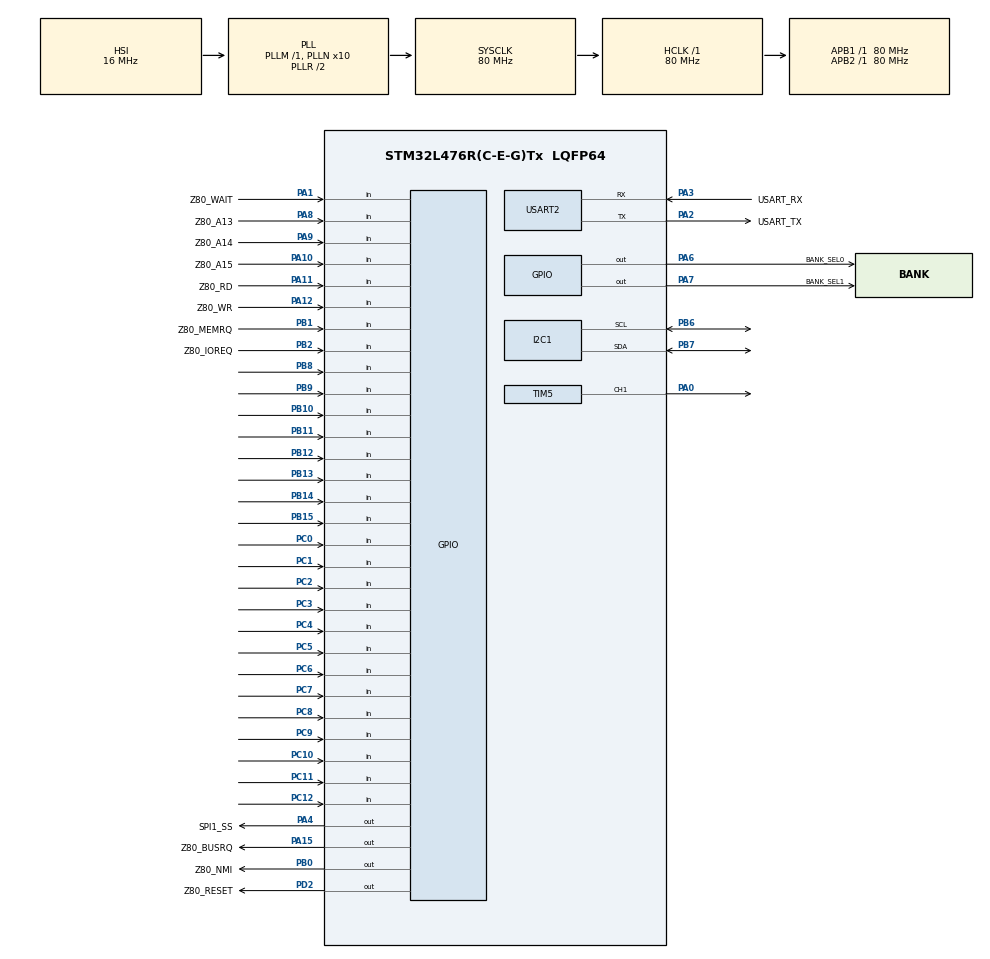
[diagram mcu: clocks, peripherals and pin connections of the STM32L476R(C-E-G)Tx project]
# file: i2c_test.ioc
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I2C1.Timing=0x10909CEC
Mcu.Family=STM32L4
Mcu.Name=STM32L476R(C-E-G)Tx
Mcu.Package=LQFP64
NVIC.PriorityGroup=NVIC_PRIORITYGROUP_4
PA0.Signal=S_TIM5_CH1
PA1.GPIO_Label=Z80_WAIT
PA1.GPIO_PuPd=GPIO_PULLUP
PA1.Signal=GPIO_Input
PA10.GPIO_Label=Z80_A15
PA10.GPIO_PuPd=GPIO_NOPULL
PA10.Signal=GPIO_Input
PA11.GPIO_Label=Z80_RD
PA11.GPIO_PuPd=GPIO_PULLUP
PA11.Signal=GPIO_Input
PA12.GPIO_Label=Z80_WR
PA12.GPIO_PuPd=GPIO_PULLUP
PA12.Signal=GPIO_Input
PA13\ (JTMS-SWDIO).GPIO_Label=TMS
PA13\ (JTMS-SWDIO).Mode=Serial_Wire
PA13\ (JTMS-SWDIO).Signal=SYS_JTMS-SWDIO
PA14\ (JTCK-SWCLK).GPIO_Label=TCK
PA14\ (JTCK-SWCLK).Mode=Serial_Wire
PA14\ (JTCK-SWCLK).Signal=SYS_JTCK-SWCLK
PA15\ (JTDI).GPIO_Label=Z80_BUSRQ
PA15\ (JTDI).Signal=GPIO_Output
PA2.GPIO_Label=USART_TX
PA2.GPIO_Mode=GPIO_MODE_AF_PP
PA2.GPIO_PuPd=GPIO_NOPULL
PA2.GPIO_Speed=GPIO_SPEED_FREQ_VERY_HIGH
PA2.Mode=Asynchronous
PA2.Signal=USART2_TX
PA3.GPIO_Label=USART_RX
PA3.GPIO_Mode=GPIO_MODE_AF_PP
PA3.GPIO_PuPd=GPIO_NOPULL
PA3.GPIO_Speed=GPIO_SPEED_FREQ_VERY_HIGH
PA3.Mode=Asynchronous
PA3.Signal=USART2_RX
PA4.GPIO_Label=SPI1_SS
PA4.PinState=GPIO_PIN_SET
PA4.Signal=GPIO_Output
PA5.Signal=SPI1_SCK
PA6.GPIO_Label=BANK_SEL0
PA6.Signal=GPIO_Output
PA7.GPIO_Label=BANK_SEL1
PA7.Signal=GPIO_Output
PA8.GPIO_Label=Z80_A13
PA8.Signal=GPIO_Input
PA9.GPIO_Label=Z80_A14
PA9.Signal=GPIO_Input
PB0.GPIO_Label=Z80_NMI
PB0.Signal=GPIO_Output
PB1.GPIO_Label=Z80_MEMRQ
PB1.GPIO_PuPd=GPIO_PULLUP
PB1.Signal=GPIO_Input
PB10.Signal=GPIO_Input
PB11.Signal=GPIO_Input
PB12.Signal=GPIO_Input
PB13.Signal=GPIO_Input
PB14.Signal=GPIO_Input
PB15.Signal=GPIO_Input
PB2.GPIO_Label=Z80_IOREQ
PB2.GPIO_PuPd=GPIO_PULLUP
PB2.Signal=GPIO_Input
PB6.Mode=I2C
PB6.Signal=I2C1_SCL
PB7.Mode=I2C
PB7.Signal=I2C1_SDA
PB8.Signal=GPIO_Input
PB9.Signal=GPIO_Input
PC0.Signal=GPIO_Input
PC1.Signal=GPIO_Input
PC10.Signal=GPIO_Input
PC11.Signal=GPIO_Input
PC12.Signal=GPIO_Input
PC2.Signal=GPIO_Input
PC3.Signal=GPIO_Input
PC4.Signal=GPIO_Input
PC5.Signal=GPIO_Input
PC6.Signal=GPIO_Input
PC7.Signal=GPIO_Input
PC8.Signal=GPIO_Input
PC9.Signal=GPIO_Input
PD2.GPIO_Label=Z80_RESET
PD2.Signal=GPIO_Output
PH0-OSC_IN\ (PH0).Signal=RCC_OSC_IN
PH1-OSC_OUT\ (PH1).Signal=RCC_OSC_OUT
ProjectManager.HeapSize=0x200
ProjectManager.StackSize=0x400
ProjectManager.TargetToolchain=STM32CubeIDE
RCC.ADCFreq_Value=64000000
RCC.AHBFreq_Value=80000000
RCC.APB1Freq_Value=80000000
RCC.APB1TimFreq_Value=80000000
RCC.APB2Freq_Value=80000000
RCC.APB2TimFreq_Value=80000000
RCC.CortexFreq_Value=80000000
RCC.HCLKFreq_Value=80000000
RCC.HSE_VALUE=8000000
RCC.HSI_VALUE=16000000
RCC.LSE_VALUE=32768
RCC.MSI_VALUE=4000000
RCC.PLLN=10
RCC.PLLSourceVirtual=RCC_PLLSOURCE_HSI
RCC.PREFETCH_ENABLE=1
RCC.SYSCLKFreq_VALUE=80000000
RCC.SYSCLKSource=RCC_SYSCLKSOURCE_PLLCLK
RCC.USBFreq_Value=64000000
RCC.VCOOutputFreq_Value=160000000
SH.S_TIM5_CH1.0=TIM5_CH1,PWM Generation1 CH1
TIM1.Prescaler=10 - 1
TIM5.AutoReloadPreload=TIM_AUTORELOAD_PRELOAD_ENABLE
TIM5.Channel-PWM\ Generation1\ CH1=TIM_CHANNEL_1
TIM5.Period=1
TIM5.Prescaler=9
TIM5.Pulse-PWM\ Generation1\ CH1=1
USART2.VirtualMode-Asynchronous=VM_ASYNC
VP_TIM1_VS_ClockSourceINT.Mode=Internal
VP_TIM5_VS_ClockSourceINT.Mode=Internal
board=NUCLEO-L476RG

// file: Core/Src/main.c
/* USER CODE BEGIN Header */
/**
  ******************************************************************************
  * @file           : main.c
  * @brief          : Main program body
  ******************************************************************************
  * @attention
  *
  * Copyright (c) 2024 STMicroelectronics.
  * All rights reserved.
  *
  * This software is licensed under terms that can be found in the LICENSE file
  * in the root directory of this software component.
  * If no LICENSE file comes with this software, it is provided AS-IS.
  *
  ******************************************************************************
  */
/* USER CODE END Header */
#include "main.h"

/* USER CODE BEGIN Includes */
#include <stdio.h>
#include <string.h>

/* USER CODE END Includes */

/* USER CODE BEGIN PD */
#define DS1307_ADDR (0x68 << 1)

/* USER CODE END PD */

I2C_HandleTypeDef hi2c1;

TIM_HandleTypeDef htim1;
TIM_HandleTypeDef htim5;

UART_HandleTypeDef huart2;

void SystemClock_Config(void);
static void MX_GPIO_Init(void);
static void MX_USART2_UART_Init(void);
static void MX_TIM5_Init(void);
static void MX_TIM1_Init(void);
static void MX_I2C1_Init(void);

int main(void)
{

  /* MCU Configuration--------------------------------------------------------*/

  /* Reset of all peripherals, Initializes the Flash interface and the Systick. */
  HAL_Init();

  /* Configure the system clock */
  SystemClock_Config();

  /* Initialize all configured peripherals */
  MX_GPIO_Init();
  MX_USART2_UART_Init();
  MX_TIM5_Init();
  MX_TIM1_Init();
  MX_I2C1_Init();
  /* USER CODE BEGIN 2 */
  HAL_TIM_Base_Start(&htim1);

  uint8_t i2c_found_ds1307 = 0;
  printf("I2C scanner\r\n");
  HAL_StatusTypeDef result;
  for (uint8_t addr = 0; addr < 128; addr++) {
    if (addr % 16 == 0) {
        printf("%02X:", addr);
    }
    if (addr == 0) {
        printf("   ");
        continue;
    }
    result = HAL_I2C_IsDeviceReady(&hi2c1, (uint16_t)(addr << 1), 2, 2);
    if (result == HAL_OK) {
        printf(" %02X", addr);
        if ((addr << 1) == DS1307_ADDR) {
            i2c_found_ds1307 = 1;
        }
    } else {
        printf(" __");
    }
    if (addr % 16 == 15) {
        printf("\r\n");
    }
  }
  printf("\r\n");

  if (i2c_found_ds1307) {
    uint8_t datetime[7];
    static uint8_t prev_datetime[7] = { 0 };
    int i = 0;

    printf("DS1307 RTC test\r\n");
    datetime[0] = 0x45;
    datetime[1] = 0x30;
    datetime[2] = 0x13;
    datetime[3] = 0x12;
    datetime[4] = 0x05;
    datetime[5] = 0x06;
    datetime[6] = 0x24;
    result = HAL_I2C_Mem_Write(&hi2c1, DS1307_ADDR, 0x00, I2C_MEMADD_SIZE_8BIT,
                               datetime, sizeof(datetime), 1000);
    while (i < 14) {
      result = HAL_I2C_Mem_Read(&hi2c1, DS1307_ADDR, 0x00, I2C_MEMADD_SIZE_8BIT,
                                datetime, sizeof(datetime), 1000);
      if (memcmp(datetime, prev_datetime, sizeof(datetime)) != 0) {
        memcpy(prev_datetime, datetime, sizeof(datetime));
        printf("20%02X/%02X/%02X %02X:%02X:%02X \r\n",
               datetime[6], datetime[5], datetime[4], datetime[2], datetime[1], datetime[0]);
        i++;
      }
    }
  }
  /* USER CODE END 2 */

  /* Infinite loop */
  while (1)
  {

  }
}

void SystemClock_Config(void)
{
  RCC_OscInitTypeDef RCC_OscInitStruct = {0};
  RCC_ClkInitTypeDef RCC_ClkInitStruct = {0};

  /** Configure the main internal regulator output voltage
  */
  if (HAL_PWREx_ControlVoltageScaling(PWR_REGULATOR_VOLTAGE_SCALE1) != HAL_OK)
  {
    Error_Handler();
  }

  /** Initializes the RCC Oscillators according to the specified parameters
  * in the RCC_OscInitTypeDef structure.
  */
  RCC_OscInitStruct.OscillatorType = RCC_OSCILLATORTYPE_HSI;
  RCC_OscInitStruct.HSIState = RCC_HSI_ON;
  RCC_OscInitStruct.HSICalibrationValue = RCC_HSICALIBRATION_DEFAULT;
  RCC_OscInitStruct.PLL.PLLState = RCC_PLL_ON;
  RCC_OscInitStruct.PLL.PLLSource = RCC_PLLSOURCE_HSI;
  RCC_OscInitStruct.PLL.PLLM = 1;
  RCC_OscInitStruct.PLL.PLLN = 10;
  RCC_OscInitStruct.PLL.PLLP = RCC_PLLP_DIV7;
  RCC_OscInitStruct.PLL.PLLQ = RCC_PLLQ_DIV2;
  RCC_OscInitStruct.PLL.PLLR = RCC_PLLR_DIV2;
  if (HAL_RCC_OscConfig(&RCC_OscInitStruct) != HAL_OK)
  {
    Error_Handler();
  }

  /** Initializes the CPU, AHB and APB buses clocks
  */
  RCC_ClkInitStruct.ClockType = RCC_CLOCKTYPE_HCLK|RCC_CLOCKTYPE_SYSCLK
                              |RCC_CLOCKTYPE_PCLK1|RCC_CLOCKTYPE_PCLK2;
  RCC_ClkInitStruct.SYSCLKSource = RCC_SYSCLKSOURCE_PLLCLK;
  RCC_ClkInitStruct.AHBCLKDivider = RCC_SYSCLK_DIV1;
  RCC_ClkInitStruct.APB1CLKDivider = RCC_HCLK_DIV1;
  RCC_ClkInitStruct.APB2CLKDivider = RCC_HCLK_DIV1;

  if (HAL_RCC_ClockConfig(&RCC_ClkInitStruct, FLASH_LATENCY_4) != HAL_OK)
  {
    Error_Handler();
  }
}

static void MX_I2C1_Init(void)
{

  hi2c1.Instance = I2C1;
  hi2c1.Init.Timing = 0x10909CEC;
  hi2c1.Init.OwnAddress1 = 0;
  hi2c1.Init.AddressingMode = I2C_ADDRESSINGMODE_7BIT;
  hi2c1.Init.DualAddressMode = I2C_DUALADDRESS_DISABLE;
  hi2c1.Init.OwnAddress2 = 0;
  hi2c1.Init.OwnAddress2Masks = I2C_OA2_NOMASK;
  hi2c1.Init.GeneralCallMode = I2C_GENERALCALL_DISABLE;
  hi2c1.Init.NoStretchMode = I2C_NOSTRETCH_DISABLE;
  if (HAL_I2C_Init(&hi2c1) != HAL_OK)
  {
    Error_Handler();
  }

  /** Configure Analogue filter
  */
  if (HAL_I2CEx_ConfigAnalogFilter(&hi2c1, I2C_ANALOGFILTER_ENABLE) != HAL_OK)
  {
    Error_Handler();
  }

  /** Configure Digital filter
  */
  if (HAL_I2CEx_ConfigDigitalFilter(&hi2c1, 0) != HAL_OK)
  {
    Error_Handler();
  }

}

static void MX_TIM1_Init(void)
{

  TIM_ClockConfigTypeDef sClockSourceConfig = {0};
  TIM_MasterConfigTypeDef sMasterConfig = {0};

  htim1.Instance = TIM1;
  htim1.Init.Prescaler = 10 - 1;
  htim1.Init.CounterMode = TIM_COUNTERMODE_UP;
  htim1.Init.Period = 65535;
  htim1.Init.ClockDivision = TIM_CLOCKDIVISION_DIV1;
  htim1.Init.RepetitionCounter = 0;
  htim1.Init.AutoReloadPreload = TIM_AUTORELOAD_PRELOAD_DISABLE;
  if (HAL_TIM_Base_Init(&htim1) != HAL_OK)
  {
    Error_Handler();
  }
  sClockSourceConfig.ClockSource = TIM_CLOCKSOURCE_INTERNAL;
  if (HAL_TIM_ConfigClockSource(&htim1, &sClockSourceConfig) != HAL_OK)
  {
    Error_Handler();
  }
  sMasterConfig.MasterOutputTrigger = TIM_TRGO_RESET;
  sMasterConfig.MasterOutputTrigger2 = TIM_TRGO2_RESET;
  sMasterConfig.MasterSlaveMode = TIM_MASTERSLAVEMODE_DISABLE;
  if (HAL_TIMEx_MasterConfigSynchronization(&htim1, &sMasterConfig) != HAL_OK)
  {
    Error_Handler();
  }

}

static void MX_TIM5_Init(void)
{

  TIM_ClockConfigTypeDef sClockSourceConfig = {0};
  TIM_MasterConfigTypeDef sMasterConfig = {0};
  TIM_OC_InitTypeDef sConfigOC = {0};

  htim5.Instance = TIM5;
  htim5.Init.Prescaler = 9;
  htim5.Init.CounterMode = TIM_COUNTERMODE_UP;
  htim5.Init.Period = 1;
  htim5.Init.ClockDivision = TIM_CLOCKDIVISION_DIV1;
  htim5.Init.AutoReloadPreload = TIM_AUTORELOAD_PRELOAD_ENABLE;
  if (HAL_TIM_Base_Init(&htim5) != HAL_OK)
  {
    Error_Handler();
  }
  sClockSourceConfig.ClockSource = TIM_CLOCKSOURCE_INTERNAL;
  if (HAL_TIM_ConfigClockSource(&htim5, &sClockSourceConfig) != HAL_OK)
  {
    Error_Handler();
  }
  if (HAL_TIM_PWM_Init(&htim5) != HAL_OK)
  {
    Error_Handler();
  }
  sMasterConfig.MasterOutputTrigger = TIM_TRGO_RESET;
  sMasterConfig.MasterSlaveMode = TIM_MASTERSLAVEMODE_DISABLE;
  if (HAL_TIMEx_MasterConfigSynchronization(&htim5, &sMasterConfig) != HAL_OK)
  {
    Error_Handler();
  }
  sConfigOC.OCMode = TIM_OCMODE_PWM1;
  sConfigOC.Pulse = 1;
  sConfigOC.OCPolarity = TIM_OCPOLARITY_HIGH;
  sConfigOC.OCFastMode = TIM_OCFAST_DISABLE;
  if (HAL_TIM_PWM_ConfigChannel(&htim5, &sConfigOC, TIM_CHANNEL_1) != HAL_OK)
  {
    Error_Handler();
  }
  HAL_TIM_MspPostInit(&htim5);

}

static void MX_USART2_UART_Init(void)
{

  huart2.Instance = USART2;
  huart2.Init.BaudRate = 115200;
  huart2.Init.WordLength = UART_WORDLENGTH_8B;
  huart2.Init.StopBits = UART_STOPBITS_1;
  huart2.Init.Parity = UART_PARITY_NONE;
  huart2.Init.Mode = UART_MODE_TX_RX;
  huart2.Init.HwFlowCtl = UART_HWCONTROL_NONE;
  huart2.Init.OverSampling = UART_OVERSAMPLING_16;
  huart2.Init.OneBitSampling = UART_ONE_BIT_SAMPLE_DISABLE;
  huart2.AdvancedInit.AdvFeatureInit = UART_ADVFEATURE_NO_INIT;
  if (HAL_UART_Init(&huart2) != HAL_OK)
  {
    Error_Handler();
  }

}

static void MX_GPIO_Init(void)
{
  GPIO_InitTypeDef GPIO_InitStruct = {0};

  /* GPIO Ports Clock Enable */
  __HAL_RCC_GPIOH_CLK_ENABLE();
  __HAL_RCC_GPIOC_CLK_ENABLE();
  __HAL_RCC_GPIOA_CLK_ENABLE();
  __HAL_RCC_GPIOB_CLK_ENABLE();
  __HAL_RCC_GPIOD_CLK_ENABLE();

  /*Configure GPIO pin Output Level */
  HAL_GPIO_WritePin(SPI1_SS_GPIO_Port, SPI1_SS_Pin, GPIO_PIN_SET);

  /*Configure GPIO pin Output Level */
  HAL_GPIO_WritePin(GPIOA, BANK_SEL0_Pin|BANK_SEL1_Pin|Z80_BUSRQ_Pin, GPIO_PIN_RESET);

  /*Configure GPIO pin Output Level */
  HAL_GPIO_WritePin(Z80_NMI_GPIO_Port, Z80_NMI_Pin, GPIO_PIN_RESET);

  /*Configure GPIO pin Output Level */
  HAL_GPIO_WritePin(Z80_RESET_GPIO_Port, Z80_RESET_Pin, GPIO_PIN_RESET);

  /*Configure GPIO pins : PC0 PC1 PC2 PC3
                           PC4 PC5 PC6 PC7
                           PC8 PC9 PC10 PC11
                           PC12 */
  GPIO_InitStruct.Pin = GPIO_PIN_0|GPIO_PIN_1|GPIO_PIN_2|GPIO_PIN_3
                          |GPIO_PIN_4|GPIO_PIN_5|GPIO_PIN_6|GPIO_PIN_7
                          |GPIO_PIN_8|GPIO_PIN_9|GPIO_PIN_10|GPIO_PIN_11
                          |GPIO_PIN_12;
  GPIO_InitStruct.Mode = GPIO_MODE_INPUT;
  GPIO_InitStruct.Pull = GPIO_NOPULL;
  HAL_GPIO_Init(GPIOC, &GPIO_InitStruct);

  /*Configure GPIO pins : Z80_WAIT_Pin Z80_RD_Pin Z80_WR_Pin */
  GPIO_InitStruct.Pin = Z80_WAIT_Pin|Z80_RD_Pin|Z80_WR_Pin;
  GPIO_InitStruct.Mode = GPIO_MODE_INPUT;
  GPIO_InitStruct.Pull = GPIO_PULLUP;
  HAL_GPIO_Init(GPIOA, &GPIO_InitStruct);

  /*Configure GPIO pins : SPI1_SS_Pin BANK_SEL0_Pin BANK_SEL1_Pin Z80_BUSRQ_Pin */
  GPIO_InitStruct.Pin = SPI1_SS_Pin|BANK_SEL0_Pin|BANK_SEL1_Pin|Z80_BUSRQ_Pin;
  GPIO_InitStruct.Mode = GPIO_MODE_OUTPUT_PP;
  GPIO_InitStruct.Pull = GPIO_NOPULL;
  GPIO_InitStruct.Speed = GPIO_SPEED_FREQ_LOW;
  HAL_GPIO_Init(GPIOA, &GPIO_InitStruct);

  /*Configure GPIO pin : PA5 */
  GPIO_InitStruct.Pin = GPIO_PIN_5;
  GPIO_InitStruct.Mode = GPIO_MODE_AF_PP;
  GPIO_InitStruct.Pull = GPIO_NOPULL;
  GPIO_InitStruct.Speed = GPIO_SPEED_FREQ_VERY_HIGH;
  GPIO_InitStruct.Alternate = GPIO_AF5_SPI1;
  HAL_GPIO_Init(GPIOA, &GPIO_InitStruct);

  /*Configure GPIO pin : Z80_NMI_Pin */
  GPIO_InitStruct.Pin = Z80_NMI_Pin;
  GPIO_InitStruct.Mode = GPIO_MODE_OUTPUT_PP;
  GPIO_InitStruct.Pull = GPIO_NOPULL;
  GPIO_InitStruct.Speed = GPIO_SPEED_FREQ_LOW;
  HAL_GPIO_Init(Z80_NMI_GPIO_Port, &GPIO_InitStruct);

  /*Configure GPIO pins : Z80_MEMRQ_Pin Z80_IOREQ_Pin */
  GPIO_InitStruct.Pin = Z80_MEMRQ_Pin|Z80_IOREQ_Pin;
  GPIO_InitStruct.Mode = GPIO_MODE_INPUT;
  GPIO_InitStruct.Pull = GPIO_PULLUP;
  HAL_GPIO_Init(GPIOB, &GPIO_InitStruct);

  /*Configure GPIO pins : PB10 PB11 PB12 PB13
                           PB14 PB15 PB8 PB9 */
  GPIO_InitStruct.Pin = GPIO_PIN_10|GPIO_PIN_11|GPIO_PIN_12|GPIO_PIN_13
                          |GPIO_PIN_14|GPIO_PIN_15|GPIO_PIN_8|GPIO_PIN_9;
  GPIO_InitStruct.Mode = GPIO_MODE_INPUT;
  GPIO_InitStruct.Pull = GPIO_NOPULL;
  HAL_GPIO_Init(GPIOB, &GPIO_InitStruct);

  /*Configure GPIO pins : Z80_A13_Pin Z80_A14_Pin Z80_A15_Pin */
  GPIO_InitStruct.Pin = Z80_A13_Pin|Z80_A14_Pin|Z80_A15_Pin;
  GPIO_InitStruct.Mode = GPIO_MODE_INPUT;
  GPIO_InitStruct.Pull = GPIO_NOPULL;
  HAL_GPIO_Init(GPIOA, &GPIO_InitStruct);

  /*Configure GPIO pin : Z80_RESET_Pin */
  GPIO_InitStruct.Pin = Z80_RESET_Pin;
  GPIO_InitStruct.Mode = GPIO_MODE_OUTPUT_PP;
  GPIO_InitStruct.Pull = GPIO_NOPULL;
  GPIO_InitStruct.Speed = GPIO_SPEED_FREQ_LOW;
  HAL_GPIO_Init(Z80_RESET_GPIO_Port, &GPIO_InitStruct);

}

/* USER CODE BEGIN 4 */

/**
  * @brief  Retargets the C library printf function to the USART.
  * @param  None
  * @retval None
  */
#ifdef __GNUC__
/* With GCC/RAISONANCE, small printf (option LD Linker->Libraries->Small printf
   set to 'Yes') calls __io_putchar() */
int __io_putchar(int ch)
#else
int fputc(int ch, FILE *f)
#endif /* __GNUC__ */
{
  /* Place your implementation of fputc here */
  /* e.g. write a character to the USART1 and Loop until the end of transmission */
  HAL_UART_Transmit(&huart2, (uint8_t *)&ch, 1, 0xFFFF);

  return ch;
}

#ifdef __GNUC__
int __io_getchar(void)
#else
int fgetc(FILE *f)
#endif
{
  uint8_t ch = 0;
  HAL_StatusTypeDef stat;
  do {
    __HAL_UART_CLEAR_OREFLAG(&huart2);
    stat = HAL_UART_Receive(&huart2, (uint8_t *)&ch, 1, /* Timeout */ 0);
  } while (ch == 0 || stat != HAL_OK);
  return ch;
}

int input_key_available(void)
{
    return __HAL_UART_GET_FLAG(&huart2, UART_FLAG_RXNE);
}

void delay_us (uint16_t us)
{
  __HAL_TIM_SET_COUNTER(&htim1,0);  // set the counter value a 0
  while (__HAL_TIM_GET_COUNTER(&htim1) < us * 8 + 1);  // wait for the counter to reach the us input in the parameter
}

/* USER CODE END 4 */

void Error_Handler(void)
{
  __disable_irq();
  while (1)
  {
  }
}
